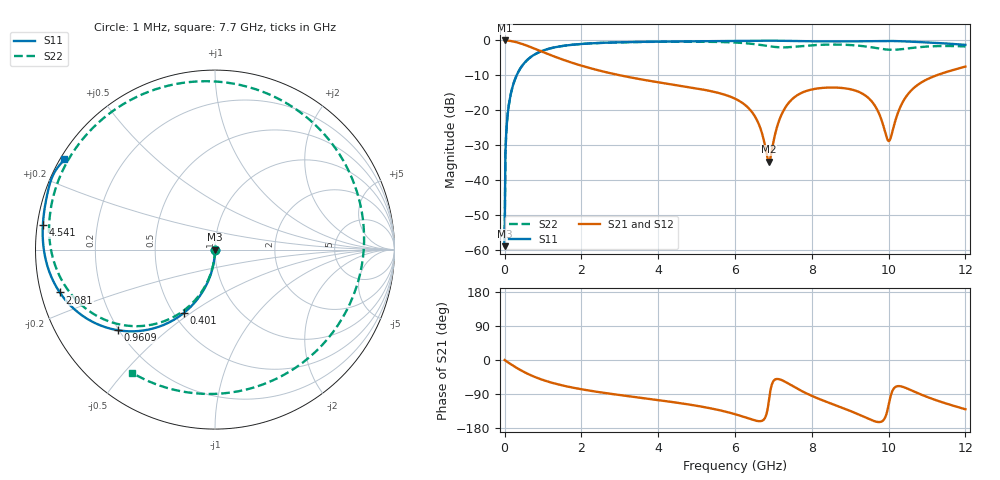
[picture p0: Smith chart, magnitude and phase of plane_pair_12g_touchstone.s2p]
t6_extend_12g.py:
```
"""Stretch: same synthetic plane pair, sweep extended to 12 GHz to capture f10~7.15 GHz.

Rebuilds the t1_create.py structure from scratch (deterministic, zero design data),
adds the t5_syz.py ports, but with a 1 MHz - 12 GHz linear_count sweep (601 pts,
~20 MHz grid -> peak location to ~0.3%), writes the exec file, then solves headless:

    siwave_ng.exe plane_pair_12g.aedb plane_pair_12g.exec -formatOutput -useSubdir

Timebox: 400 s on the solve; on timeout the solver child (and only it) is killed
and the script exits 2 (skip cleanly). License draw: elec_solve_siwave (free seats).

Env required in-session:
    ANSYSEM_ROOT261=C:\\Program Files\\ANSYS Inc\\v261\\AnsysEM
    ANSYSLMD_LICENSE_FILE=<port>@<license-server>   (site-specific)

Usage: python t6_extend_12g.py [workdir]   (default: <script dir>\\ext12g)
"""

import os
import shutil
import subprocess
import sys
import time

TIMEBOX_S = 400
HERE = os.path.dirname(os.path.abspath(__file__))
WORK = sys.argv[1] if len(sys.argv) > 1 else os.path.join(HERE, "ext12g")
AEDB = os.path.join(WORK, "plane_pair_12g.aedb")

t_all = time.perf_counter()
os.makedirs(WORK, exist_ok=True)
if os.path.exists(AEDB):
    shutil.rmtree(AEDB)

# ---- build (t1_create.py recipe, verbatim dims) -----------------------------
t0 = time.perf_counter()
from pyedb import Edb  # noqa: E402

edb = Edb(edbpath=AEDB, version="2026.1")
edb.materials.add_conductor_material("copper_probe", 5.8e7)
edb.materials.add_dielectric_material("FR4_probe", 4.4, 0.02)
for name, ltype, mat, th in [
    ("BOT", "signal", "copper", "35um"),
    ("D3", "dielectric", "FR4_probe", "200um"),
    ("L3", "signal", "copper", "17um"),
    ("D2", "dielectric", "FR4_probe", "200um"),
    ("L2", "signal", "copper", "17um"),
    ("D1", "dielectric", "FR4_probe", "200um"),
    ("TOP", "signal", "copper", "35um"),
]:
    edb.stackup.add_layer(name, layer_type=ltype, material=mat, thickness=th,
                          filling_material="FR4_probe")
edb.modeler.create_rectangle(layer_name="TOP", net_name="VDD",
                             lower_left_point=["0mm", "0mm"],
                             upper_right_point=["10mm", "10mm"])
edb.modeler.create_rectangle(layer_name="BOT", net_name="GND",
                             lower_left_point=["0mm", "0mm"],
                             upper_right_point=["10mm", "10mm"])

# ---- ports (t5_syz.py recipe) -----------------------------------------------
se = edb.excitation_manager
t_pos = se.create_point_terminal(0.005, 0.005, "TOP", "VDD", name="P1_VDD")
t_ref = se.create_point_terminal(0.005, 0.005, "BOT", "GND", name="P1_ref")
se.create_port(t_pos, t_ref, is_circuit_port=True, name="P1")
t_pos2 = se.create_point_terminal(0.001, 0.001, "TOP", "VDD", name="P2_VDD")
t_ref2 = se.create_point_terminal(0.001, 0.001, "BOT", "GND", name="P2_ref")
se.create_port(t_pos2, t_ref2, is_circuit_port=True, name="P2")
print("ports:", list(edb.ports.keys()))

# ---- extended sweep + exec ---------------------------------------------------
edb.simulation_setups.create_siwave_setup(
    name="syz_12g", distribution="linear_count",
    start_freq="1MHz", stop_freq="12GHz", step_freq=601)
exec_path = edb.siwave.create_exec_file(add_syz=True, export_touchstone=True)
txt = open(exec_path).read()
with open(exec_path, "w") as f:
    f.write("SetNumCpus 4\n" + txt)
edb.save()
edb.close()
print(f"WALL build EDB: {time.perf_counter() - t0:.1f}s")
print("exec file:", exec_path)

# ---- headless solve, timeboxed ----------------------------------------------
siwave_ng = os.path.join(os.environ["ANSYSEM_ROOT261"], "siwave_ng.exe")
cmd = [siwave_ng, AEDB, exec_path, "-formatOutput", "-useSubdir"]
print("solve:", " ".join(cmd))
t0 = time.perf_counter()
try:
    r = subprocess.run(cmd, capture_output=True, text=True, timeout=TIMEBOX_S)
except subprocess.TimeoutExpired:
    print(f"SOLVE TIMEBOX ({TIMEBOX_S}s) EXCEEDED - solver killed, skipping "
          f"cleanly (1 MHz-1 GHz beat still stands)")
    sys.exit(2)
wall = time.perf_counter() - t0
print(f"WALL siwave_ng solve: {wall:.1f}s  exit={r.returncode}")
if r.returncode != 0:
    print("--- stdout tail ---\n" + r.stdout[-2000:])
    print("--- stderr tail ---\n" + r.stderr[-2000:])
    sys.exit(1)

s2p = os.path.join(WORK, "plane_pair_12g_touchstone.s2p")
print("touchstone exists:", os.path.isfile(s2p), "->", s2p)
print(f"WALL t6 total: {time.perf_counter() - t_all:.1f}s")
print("T6 DONE")
```
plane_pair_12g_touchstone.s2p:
! Touchstone file exported from Ansys Full-Wave Spice
! Project: 0000
!  Design: unknown
! Creation time: Tue Jul 21 02:52:19 2026
! Notes: Touchstone(R) file created by SIwave 2026 R1
!  : Touchstone(R) file created on Tue Jul 21 02:52:19 2026
!  : Design: Cell_4ZWV3U
!  : Path:
!  : *** SIwave SYZ Simulation Settings ***
!  : SI/PI Main
!  :  SI Simulation -  Balanced
!  : SI/PI Advanced
!  :  Coupling
!  :  Coplane: On
!  :  Intra-plane: Off
!  :  Split-plane: On
!  :  Cavity field: On
!  :  Trace: On
!  :  Cross-talk threshold: -34dB
!  :  Max. coupled lines: 12
!  :  Geometry Processing
!  :  Void area threshold: 2mm^2
!  :  Pad area threshold: 1mm^2
!  :  Planes area threshold: 6.25E-06mm^2
!  :  Vertex snap distance threshold: 0.0025mm
!  :  Mesh Refinement
!  :  Auto
!  :  AC/DC Merge
!  :  Default
!  :  Trace return current distribution: Off
!  :  Include voltage/current source parasitics: No
!  :  Add infinite ground plane: No
!  :  Exclude non-functional pads: Yes
!  : Temperature
!  :  Uniform distribution: 20cel
!  : Net Processing
!  :  Auto select nets
!  : S-parameter Modeling
!  :  State Space Model
!  : Sweep
!  :  Name: frequency_sweep
!  :  AC/DC Merge: Off
!  :  Interpolating Sweep
!  :  Relative error for S: 0.005
!  :  Frequency Point Distribution:
!  :  Linear: 1E+06Hz -> 1.2E+10Hz 601 pts
!  :  Enforce Causality: No
!  :  Enforce Passivity: Yes
!  :  Q3D Regions: Off
!  :  HFSS Regions: Off
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# HZ S RI R 50
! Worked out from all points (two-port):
!   601 points, 1 MHz to 12 GHz, reference 50 ohm
!   highest |S21| = 0.00 dB at 1 MHz (marker M1); lowest = -34.7 dB at 6.88 GHz (marker M2)
!   |S21| within 3 dB of the highest: start of sweep to 928.9 MHz
!   lowest |S11| = -58.8 dB at 1 MHz (marker M3), VSWR 1.00, Z = 50 - j0.115 ohm
!   |S11| at or under -10 dB: start of sweep to 313.3 MHz
!   |S22| runs from -58.8 to -0.3 dB; largest |S21 - S12| = 0
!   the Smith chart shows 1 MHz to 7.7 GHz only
!   S11 on the Smith chart (normalised r, x): 1 MHz: 1.00, -0.00; 401 MHz: 0.57, -0.47; 960.9 MHz: 0.20, -0.35; 2.081 GHz: 0.06, -0.14; 4.541 GHz: 0.02, +0.07; 7.7 GHz: 0.01, +0.28
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1000000  -8.91e-06 -0.00115  1 -0.00128  1 -0.00128  -9.01e-06 -0.00115
4.009667e8  -0.1714 -0.3512  0.8216 -0.3968  0.8216 -0.3968  -0.1826 -0.3454
9.6092e8  -0.541 -0.4493  0.4348 -0.544  0.4348 -0.544  -0.5741 -0.4055
2.080827e9  -0.8646 -0.2388  0.0837 -0.4153  0.0837 -0.4153  -0.8934 -0.0794
4.540622e9  -0.9592 0.1354  -0.0902 -0.2081  -0.0902 -0.2081  -0.726 0.6289
6.0005e9  -0.9353 0.3048  -0.1176 -0.0887  -0.1176 -0.0887  0.0421 0.9332
6.880427e9  -0.9028 0.4142  -0.00604 -0.0174  -0.00604 -0.0174  0.8287 0.00144
7.700358e9  -0.8388 0.5022  0.0308 -0.172  0.0308 -0.172  -0.4616 -0.6864
9.24023e9  -0.7246 0.6492  -0.1488 -0.1059  -0.1488 -0.1059  -0.239 0.8059
1.002016e10  -0.631 0.7541  -0.0125 -0.0347  -0.0125 -0.0347  0.7376 -0.0173
1.2e10  -0.1644 0.8481  -0.2724 -0.324  -0.2724 -0.324  -0.8196 -0.0601
